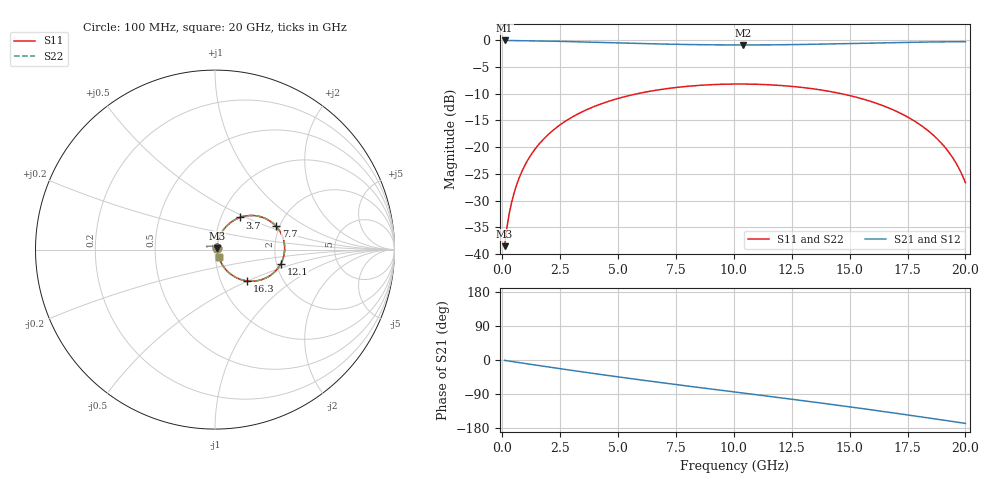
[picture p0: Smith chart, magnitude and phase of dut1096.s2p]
! Touchstone file exported from HFSS 2026.1.0
!  File:  C:/ffzhzh/LocalFiles/Ansys_Project_Files/temp_train_TSV_RDL_1096_1783302762_38820.aedt
!  Generated:  10:05:51 AM Jul  6, 2026
!  Design:  TSV_RDL
!  Project:  temp_train_TSV_RDL_1096_1783302762_38820
! Variables:
!  h_bsmrdl = 5.22um
!  h_ox = 20um
!  h_rdl = 5um
!  h_sub = 94.21um
!  h_tmrdl = 3.52um
!  h_tsv = 94.21um
!  h_via = 3um
!  l_bsmrdl = 228.43um
!  l_sub = 2649.13um
!  l_tmrdl = 347.85um
!  m_sub = 200um
!  pitch = 48.81um
!  r_tsv = 7.33um
!  s_tmrdl = 10um
!  w_bsmrdl = 29.15um
!  w_sub = 500um
!  w_tmrdl = 28.33um
!  x_tsv_center1 = 362.015um
!  x_tsv_center2 = 619.595um
!  x_tsv_center3 = 995.775um
!  x_tsv_center4 = 1253.355um
!  x_tsv_center5 = 1629.535um
!  x_tsv_center6 = 1887.115um
# GHz S MA R 50.000000
! Terminal data exported
! Port[1] = TM_RDL1_1_T1
! Port[2] = TM_RDL5_1_T1
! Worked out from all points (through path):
!   200 points, 100 MHz to 20 GHz, reference 50 ohm
!   highest |S21| = -0.08 dB at 100 MHz (marker M1); lowest = -0.9 dB at 10.4 GHz (marker M2)
!   group delay of S21, straight-line fit = 22.6 ps
!   lowest |S11| = -38.5 dB at 100 MHz (marker M3), VSWR 1.02, Z = 50.9 + j0.765 ohm
!   |S11| at or under -10 dB: start of sweep to 5.858 GHz; 14.62 GHz to end of sweep
!   |S22| runs from -38.5 to -8.2 dB; largest |S21 - S12| = 1.7e-14
!   S11 on the Smith chart (normalised r, x): 100 MHz: 1.02, +0.02; 3.7 GHz: 1.23, +0.46; 7.7 GHz: 1.92, +0.57; 12.1 GHz: 2.11, -0.38; 16.3 GHz: 1.33, -0.50; 20 GHz: 1.04, -0.09
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0.1  0.01189 39.2  0.9909 -1.0  0.9909 -1.0  0.01189 39.2
! Gamma 0 0 0 0
! Port Impedance 50 0 50 0
0.3  0.02399 61.9  0.9895 -2.9  0.9895 -2.9  0.02399 61.9
0.5  0.03675 68.0  0.9884 -4.7  0.9884 -4.7  0.03675 68.0
0.8  0.05622 70.6  0.9869 -7.5  0.9869 -7.5  0.05622 70.6
1.1  0.07568 70.4  0.985 -10.3  0.985 -10.3  0.07568 70.4
1.6  0.1075 68.1  0.981 -14.9  0.981 -14.9  0.1075 68.1
2.1  0.1382 64.7  0.9762 -19.4  0.9762 -19.4  0.1382 64.7
3.5  0.2163 53.8  0.9596 -31.8  0.9596 -31.8  0.2163 53.8
3.7  0.2264 52.2  0.957 -33.5  0.957 -33.5  0.2264 52.2
5.1  0.2888 41.0  0.9385 -45.4  0.9385 -45.4  0.2888 41.0
6.8  0.3441 27.7  0.9185 -59.2  0.9185 -59.2  0.3441 27.7
7.7  0.3644 20.9  0.9103 -66.3  0.9103 -66.3  0.3644 20.9
10.1  0.3883 2.9  0.8995 -84.9  0.8995 -84.9  0.3883 2.9
10.4  0.3883 0.7  0.8994 -87.2  0.8994 -87.2  0.3883 0.7
12.1  0.3754 -12.0  0.9038 -100.4  0.9038 -100.4  0.3754 -12.0
13.4  0.3509 -21.8  0.9123 -110.6  0.9123 -110.6  0.3509 -21.8
16.3  0.2503 -44.3  0.9404 -134.5  0.9404 -134.5  0.2503 -44.2
16.7  0.2316 -47.4  0.9443 -138.0  0.9443 -138.0  0.2316 -47.3
17.9  0.1698 -56.5  0.955 -148.4  0.955 -148.4  0.1698 -56.4
18.8  0.1185 -62.4  0.9609 -156.4  0.9609 -156.4  0.1185 -62.3
19.5  0.0767 -65.1  0.9638 -162.7  0.9638 -162.7  0.07674 -64.9
20  0.04657 -63.0  0.9648 -167.3  0.9648 -167.3  0.04663 -62.8
